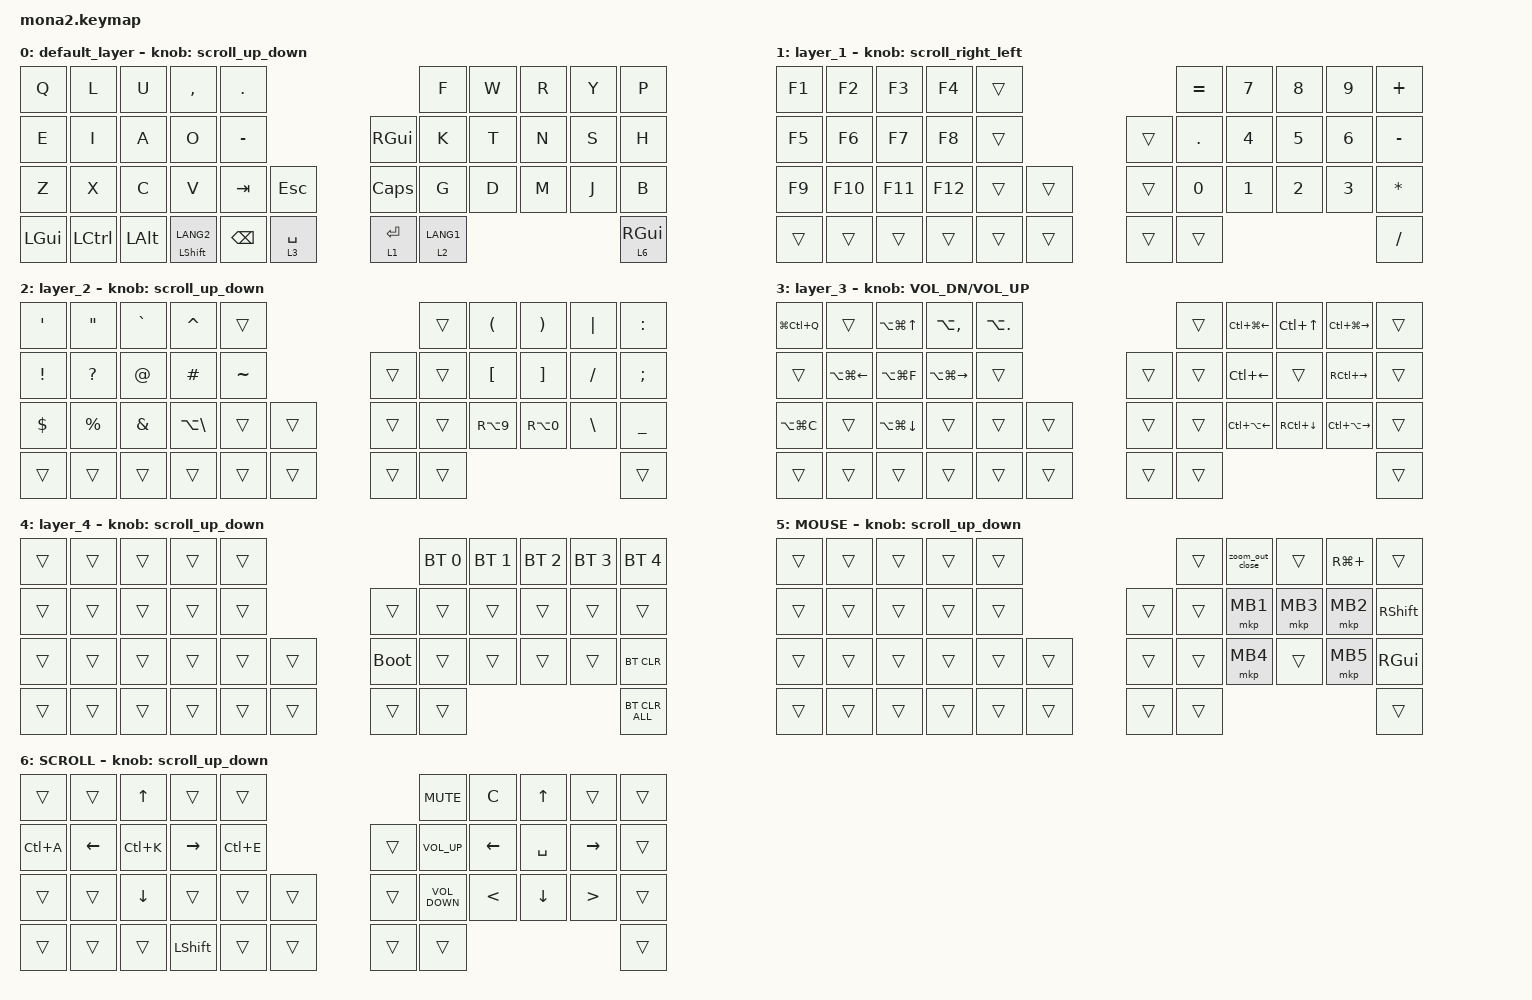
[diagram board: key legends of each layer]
#include <input/processors.dtsi>
#include <dt-bindings/zmk/input_transform.h>
#include <zephyr/dt-bindings/input/input-event-codes.h>
#include <behaviors.dtsi>
#include <dt-bindings/zmk/bt.h>
#include <dt-bindings/zmk/keys.h>
#include <dt-bindings/zmk/pointing.h>

#define ZMK_POINTING_DEFAULT_SCRL_VAL 100
#define MOUSE 5
#define SCROLL 6

&mt {
    flavor = "balanced";
    quick-tap-ms = <0>;
};

&lt {
    quick-tap-ms = <300>;
    flavor = "balanced";
};

/ {
    combos {
        compatible = "zmk,combos";

        layer4 {
            bindings = <&mo 4>;
            key-positions = <39 40>;
        };
    };

    macros {
        to_layer_0: to_layer_0 {
            compatible = "zmk,behavior-macro-one-param";
            #binding-cells = <1>;
            bindings = <&to 0 &macro_param_1to1 &kp MACRO_PLACEHOLDER>;
            label = "TO_LAYER_0";
        };
    };

    behaviors {
        lt_to_layer_0: lt_to_layer_0 {
            compatible = "zmk,behavior-hold-tap";
            label = "LAYER_TAP_TO_0";
            bindings = <&mo>, <&to_layer_0>;

            #binding-cells = <2>;
            tapping-term-ms = <200>;
        };

        scroll_up_down: mouse_wheel_up_down {
            compatible = "zmk,behavior-sensor-rotate";
            #sensor-binding-cells = <0>;
            bindings = <&msc SCRL_DOWN>, <&msc SCRL_UP>;

            tap-ms = <20>;
        };

        scroll_right_left: mouse_wheel_right_left {
            compatible = "zmk,behavior-sensor-rotate";
            #sensor-binding-cells = <0>;
            bindings = <&msc SCRL_LEFT>, <&msc SCRL_RIGHT>;

            tap-ms = <20>;
        };
    };

    keymap {
        compatible = "zmk,keymap";

        default_layer {
            bindings = <
&kp Q         &kp L             &kp U         &kp COMMA         &kp DOT                                      &kp F        &kp W  &kp R  &kp Y  &kp P
&kp E         &kp I             &kp A         &kp O             &kp MINUS                     &kp RIGHT_GUI  &kp K        &kp T  &kp N  &kp S  &kp H
&kp Z         &kp X             &kp C         &kp V             &kp TAB        &kp ESCAPE     &kp CAPSLOCK   &kp G        &kp D  &kp M  &kp J  &kp B
&kp LEFT_GUI  &kp LEFT_CONTROL  &kp LEFT_ALT  &mt LSHIFT LANG2  &kp BACKSPACE  &lt 3 SPACE    &lt 1 ENTER    &lt 2 LANG1                       &lt 6 RIGHT_GUI
            >;

            sensor-bindings = <&scroll_up_down>;
        };

        layer_1 {
            bindings = <
&kp F1  &kp F2   &kp F3   &kp F4   &trans                    &kp EQUAL     &kp NUMBER_7  &kp NUMBER_8  &kp NUMBER_9  &kp PLUS
&kp F5  &kp F6   &kp F7   &kp F8   &trans            &trans  &kp PERIOD    &kp NUMBER_4  &kp NUMBER_5  &kp NUMBER_6  &kp MINUS
&kp F9  &kp F10  &kp F11  &kp F12  &trans  &trans    &trans  &kp NUMBER_0  &kp NUMBER_1  &kp NUMBER_2  &kp NUMBER_3  &kp ASTERISK
&trans  &trans   &trans   &trans   &trans  &trans    &trans  &trans                                                  &kp SLASH
            >;

            sensor-bindings = <&scroll_right_left>;
        };

        layer_2 {
            bindings = <
&kp SQT          &kp DOUBLE_QUOTES  &kp GRAVE      &kp CARET          &trans                       &trans  &kp LEFT_PARENTHESIS  &kp RIGHT_PARENTHESIS  &kp PIPE       &kp COLON
&kp EXCLAMATION  &kp QUESTION       &kp AT_SIGN    &kp HASH           &kp TILDE            &trans  &trans  &kp LEFT_BRACKET      &kp RIGHT_BRACKET      &kp SLASH      &kp SEMICOLON
&kp DOLLAR       &kp PERCENT        &kp AMPERSAND  &kp LA(BACKSLASH)  &trans     &trans    &trans  &trans  &kp RA(NUMBER_9)      &kp RA(NUMBER_0)       &kp BACKSLASH  &kp UNDERSCORE
&trans           &trans             &trans         &trans             &trans     &trans    &trans  &trans                                                              &trans
            >;

            sensor-bindings = <&scroll_up_down>;
        };

        layer_3 {
            bindings = <
&kp LG(LC(Q))  &trans                  &kp LA(LG(UP_ARROW))    &kp LA(COMMA)            &kp LA(PERIOD)                    &trans  &kp LC(LG(LEFT_ARROW))  &kp LC(UP_ARROW)    &kp LC(LG(RIGHT_ARROW))  &trans
&trans         &kp LA(LG(LEFT_ARROW))  &kp LA(LG(F))           &kp LA(LG(RIGHT_ARROW))  &trans                    &trans  &trans  &kp LC(LEFT_ARROW)      &trans              &kp RC(RIGHT_ARROW)      &trans
&kp LA(LG(C))  &trans                  &kp LA(LG(DOWN_ARROW))  &trans                   &trans          &trans    &trans  &trans  &kp LC(LA(LEFT_ARROW))  &kp RC(DOWN_ARROW)  &kp LC(LA(RIGHT_ARROW))  &trans
&trans         &trans                  &trans                  &trans                   &trans          &trans    &trans  &trans                                                                       &trans
            >;

            sensor-bindings = <&inc_dec_kp C_VOL_DN C_VOL_UP>;
        };

        layer_4 {
            bindings = <
&trans  &trans  &trans  &trans  &trans                         &bt BT_SEL 0  &bt BT_SEL 1  &bt BT_SEL 2  &bt BT_SEL 3  &bt BT_SEL 4
&trans  &trans  &trans  &trans  &trans            &trans       &trans        &trans        &trans        &trans        &trans
&trans  &trans  &trans  &trans  &trans  &trans    &bootloader  &trans        &trans        &trans        &trans        &bt BT_CLR
&trans  &trans  &trans  &trans  &trans  &trans    &trans       &trans                                                  &bt BT_CLR_ALL
            >;

            sensor-bindings = <&scroll_up_down>;
        };

        MOUSE {
            bindings = <
&trans  &trans  &trans  &trans  &trans                    &trans  &zoom_out_close  &trans    &kp RG(PLUS)  &trans
&trans  &trans  &trans  &trans  &trans            &trans  &trans  &mkp MB1         &mkp MB3  &mkp MB2      &kp RIGHT_SHIFT
&trans  &trans  &trans  &trans  &trans  &trans    &trans  &trans  &mkp MB4         &trans    &mkp MB5      &kp RIGHT_GUI
&trans  &trans  &trans  &trans  &trans  &trans    &trans  &trans                                           &trans
            >;

            sensor-bindings = <&scroll_up_down>;
        };

        SCROLL {
            bindings = <
&trans     &trans          &kp UP_ARROW    &trans           &trans                       &kp K_MUTE         &kp C           &kp UP_ARROW    &trans            &trans
&kp LC(A)  &kp LEFT_ARROW  &kp LC(K)       &kp RIGHT_ARROW  &kp LC(E)            &trans  &kp C_VOLUME_UP    &kp LEFT_ARROW  &kp SPACE       &kp RIGHT_ARROW   &trans
&trans     &trans          &kp DOWN_ARROW  &trans           &trans     &trans    &trans  &kp C_VOLUME_DOWN  &kp LESS_THAN   &kp DOWN_ARROW  &kp GREATER_THAN  &trans
&trans     &trans          &trans          &kp LEFT_SHIFT   &trans     &trans    &trans  &trans                                                               &trans
            >;

            sensor-bindings = <&scroll_up_down>;
        };
    };
};
